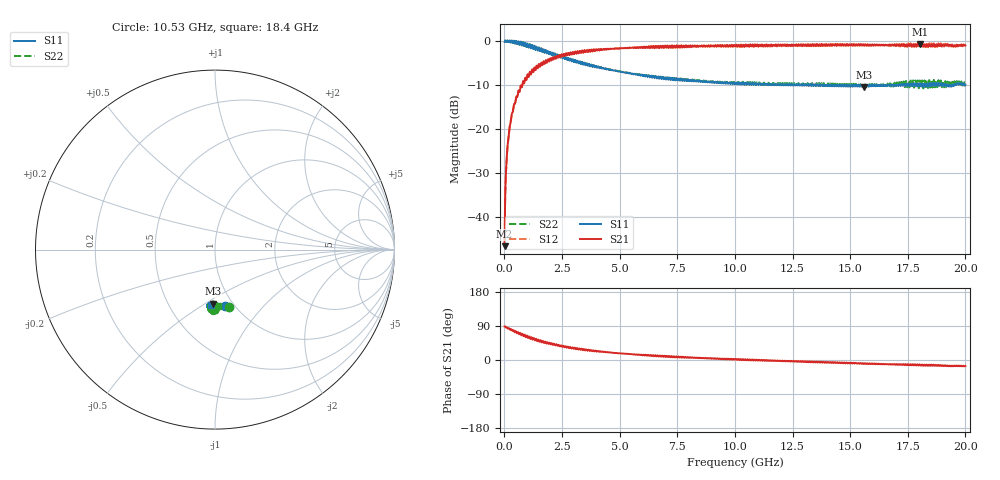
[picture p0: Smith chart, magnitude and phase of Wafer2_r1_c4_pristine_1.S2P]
!  2-Port S-parameters saved by WinCal
! VAR MeasName=S-Parameters (CALIBRATED_DATA) read from VNA (P5004A)
! VAR MeasDate=26/04/2024 17:45:01
! VAR NAME=Wafer2_r1_c4_pristine
! VAR FILENAME=Wafer2_r1_c4_pristine_1.S2P
! VAR DATE=26/04/2024 17:45:01
! VAR PHYS_PORTS=1,2
! VAR ObjTypeName=DATASET
! VAR IndexType=Frequency
# Hz S MA R 50
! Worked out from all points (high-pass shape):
!   1999 points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, 10.01 MHz to 20 GHz, reference 50 ohm
!   highest |S21| = -0.68 dB at 18.04 GHz (marker M1); lowest = -46.7 dB at 10.01 MHz (marker M2)
!   |S21| within 3 dB of the highest: 2.258 GHz to 2.317 GHz (59 MHz wide, 2.58 % of centre); 2.345 GHz to end of sweep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
!   lowest |S11| = -10.4 dB at 15.61 GHz (marker M3), VSWR 1.86, Z = 40.8 - j27 ohm
!   |S11| at or under -10 dB: 14.87 GHz to 14.96 GHz (86.96 MHz wide, 0.583 % of centre); 15.47 GHz to 15.85 GHz (380.3 MHz wide, 2.43 % of centre); 16.55585 GHz to 16.63863 GHz (82.77 MHz wide, 0.499 % of centre)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
!   |S22| runs from -10.8 to 0.1 dB; largest |S21 - S12| = 0.038
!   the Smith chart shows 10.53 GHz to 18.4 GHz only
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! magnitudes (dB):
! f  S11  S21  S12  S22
! 10.01 MHz  -0.2  -46.7  -46.6  -0.2
! 50.03 MHz  0.1  -32.5  -32.6  0.1
! 120.1 MHz  0.1  -25.1  -25.1  0.0
! 160.1 MHz  -0.1  -22.8  -22.9  -0.1
! 210.1 MHz  0.0  -20.4  -20.3  0.0
! 280.1 MHz  -0.3  -18.2  -18.2  -0.3
! 380.2 MHz  -0.4  -15.7  -15.7  -0.4
! 500.3 MHz  -0.1  -13.1  -13.1  -0.1
! 660.3 MHz  -0.8  -11.5  -11.5  -0.8
! 850.4 MHz  -1.1  -9.6  -9.6  -1.1
! 1.051 GHz  -1.5  -8.2  -8.2  -1.5
! 1.551 GHz  -2.3  -5.8  -5.7  -2.3
! 2.331 GHz  -3.6  -3.8  -3.8  -3.6
! 3.342 GHz  -5.1  -2.5  -2.5  -5.0
! 4.802 GHz  -6.7  -1.7  -1.7  -6.7
! 6.673 GHz  -8.1  -1.1  -1.1  -8.2
! 10.01 GHz  -9.8  -1.2  -1.3  -9.7
! 13.35 GHz  -9.9  -0.9  -0.8  -9.6
! 15.61 GHz  -10.4  -1.0  -1.0  -10.3
! 16.68 GHz  -10.1  -1.0  -1.0  -10.3
! 18.04 GHz  -9.7  -0.7  -0.6  -9.2
! 20 GHz  -10.0  -1.0  -0.9  -9.7
